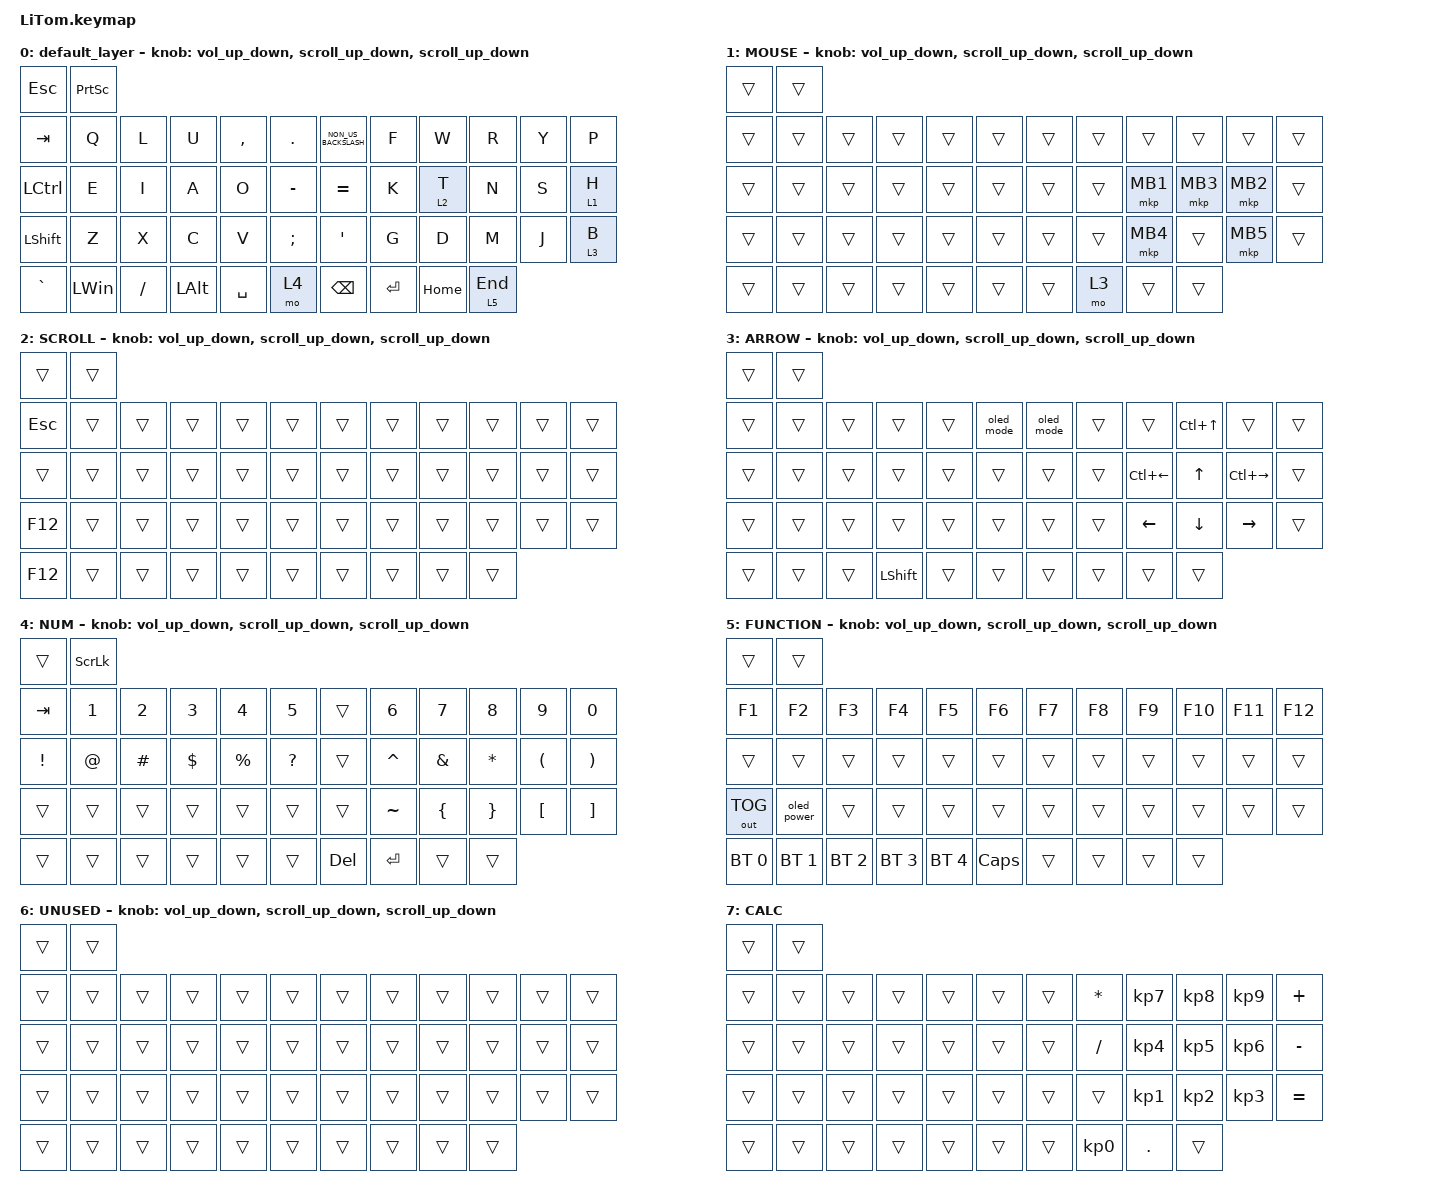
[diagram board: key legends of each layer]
#include <zephyr/dt-bindings/input/input-event-codes.h>
#include <input/processors/runtime-input-processor.dtsi>
#include <behaviors/runtime-sensor-rotate.dtsi>
#include <behaviors.dtsi>
#include <dt-bindings/zmk/bt.h>
#include <dt-bindings/zmk/keys.h>
#include <dt-bindings/zmk/outputs.h>
#include <dt-bindings/zmk/pointing.h>

#undef ZMK_POINTING_DEFAULT_SCRL_VAL

#define ZMK_POINTING_DEFAULT_SCRL_VAL 80

// スクロールのランタイムスケーラ (DYA Studio から実行時に変更できる倍率)。
// LiTom_R.overlay では慣性プロセッサの「上流」に置いてあるので、ここで大きく
// 割ると慣性へ渡る値が 0 に潰れて速度計測が壊れる。固定の縮小は慣性の下流の
// zip_scroll_scaler に任せ、ここは素通し (1:1) を基準にする。
// 注意: この値は NVS に保存されるため、以前 Studio で設定した値があれば
// そちらが優先される。書き込み後に一度 Studio で速度を設定し直すこと。

&scroll_runtime_input_processor {
    scale-multiplier = <1>;
    scale-divisor = <1>;
};

/ {
    behaviors {
        scroll_up_down: behavior_sensor_rotate_mouse_wheel_up_down {
            compatible = "zmk,behavior-runtime-sensor-rotate";
            label = "ENCODER_MSC_DOWN_UP";
            #sensor-binding-cells = <0>;
            cw-binding = <&msc SCRL_DOWN>;
            ccw-binding = <&msc SCRL_UP>;
            tap-ms = <20>;
        };

        vol_up_down: behavior_sensor_rotate_volume_up_down {
            compatible = "zmk,behavior-runtime-sensor-rotate";
            label = "ENCODER_VOL_UP_DOWN";
            #sensor-binding-cells = <0>;
            cw-binding = <&kp C_VOLUME_UP>;
            ccw-binding = <&kp C_VOLUME_DOWN>;
            tap-ms = <20>;
        };

        tab_slide: behavior_sensor_rotate_tab_slide {
            compatible = "zmk,behavior-runtime-sensor-rotate";
            label = "ENCODER_TAB_SLIDE";
            #sensor-binding-cells = <0>;
            cw-binding = <&kp LA(LG(RIGHT_ARROW))>;
            ccw-binding = <&kp LA(LG(LEFT_ARROW))>;
            tap-ms = <20>;
        };
    };

    keymap: keymap {
        compatible = "zmk,keymap";

        default_layer {
            display-name = "default_layer";
            bindings = <
&kp ESCAPE        &kp PRINTSCREEN
&kp TAB           &kp Q            &kp L      &kp U         &kp COMMA  &kp PERIOD     &kp NON_US_BACKSLASH  &kp F      &kp W     &kp R      &kp Y  &kp P
&kp LEFT_CONTROL  &kp E            &kp I      &kp A         &kp O      &kp MINUS      &kp EQUAL             &kp K      &lt 2 T   &kp N      &kp S  &lt 1 H
&kp LEFT_SHIFT    &kp Z            &kp X      &kp C         &kp V      &kp SEMICOLON  &kp SQT               &kp G      &kp D     &kp M      &kp J  &lt 3 B
&kp GRAVE         &kp LEFT_WIN     &kp SLASH  &kp LEFT_ALT  &kp SPACE  &mo 4          &kp BACKSPACE         &kp ENTER  &kp HOME  &lt 5 END
            >;

            sensor-bindings = <
                &vol_up_down
                &scroll_up_down
                &scroll_up_down
            >;
        };

        MOUSE {
            display-name = "MOUSE";
            bindings = <
&trans  &trans
&trans  &trans  &trans  &trans  &trans  &trans  &trans  &trans  &trans    &trans    &trans    &trans
&trans  &trans  &trans  &trans  &trans  &trans  &trans  &trans  &mkp MB1  &mkp MB3  &mkp MB2  &trans
&trans  &trans  &trans  &trans  &trans  &trans  &trans  &trans  &mkp MB4  &trans    &mkp MB5  &trans
&trans  &trans  &trans  &trans  &trans  &trans  &trans  &mo 3   &trans    &trans
            >;

            sensor-bindings = <
                &vol_up_down
                &scroll_up_down
                &scroll_up_down
            >;
        };

        SCROLL {
            display-name = "SCROLL";
            bindings = <
&trans      &trans
&kp ESCAPE  &trans  &trans  &trans  &trans  &trans  &trans  &trans  &trans  &trans  &trans  &trans
&trans      &trans  &trans  &trans  &trans  &trans  &trans  &trans  &trans  &trans  &trans  &trans
&kp F12     &trans  &trans  &trans  &trans  &trans  &trans  &trans  &trans  &trans  &trans  &trans
&kp F12     &trans  &trans  &trans  &trans  &trans  &trans  &trans  &trans  &trans
            >;

            sensor-bindings = <
                &vol_up_down
                &scroll_up_down
                &scroll_up_down
            >;
        };

        ARROW {
            display-name = "ARROW";
            bindings = <
&trans  &trans
&trans  &trans  &trans  &trans          &trans  &oled_mode  &oled_mode  &trans  &trans              &kp LC(UP_ARROW)  &trans               &trans
&trans  &trans  &trans  &trans          &trans  &trans      &trans      &trans  &kp LC(LEFT_ARROW)  &kp UP_ARROW      &kp LC(RIGHT_ARROW)  &trans
&trans  &trans  &trans  &trans          &trans  &trans      &trans      &trans  &kp LEFT_ARROW      &kp DOWN_ARROW    &kp RIGHT_ARROW      &trans
&trans  &trans  &trans  &kp LEFT_SHIFT  &trans  &trans      &trans      &trans  &trans              &trans
            >;

            sensor-bindings = <
                &vol_up_down
                &scroll_up_down
                &scroll_up_down
            >;
        };

        NUM {
            display-name = "NUM";
            bindings = <
&trans    &kp SCROLLLOCK
&kp TAB   &kp NUMBER_1    &kp NUMBER_2  &kp NUMBER_3  &kp NUMBER_4  &kp N5        &trans   &kp NUMBER_6  &kp N7          &kp N8           &kp N9                &kp N0
&kp EXCL  &kp AT_SIGN     &kp HASH      &kp DOLLAR    &kp PERCENT   &kp QUESTION  &trans   &kp CARET     &kp AMPERSAND   &kp ASTERISK     &kp LEFT_PARENTHESIS  &kp RIGHT_PARENTHESIS
&trans    &trans          &trans        &trans        &trans        &trans        &trans   &kp TILDE     &kp LEFT_BRACE  &kp RIGHT_BRACE  &kp LEFT_BRACKET      &kp RIGHT_BRACKET
&trans    &trans          &trans        &trans        &trans        &trans        &kp DEL  &kp ENTER     &trans          &trans
            >;

            sensor-bindings = <
                &vol_up_down
                &scroll_up_down
                &scroll_up_down
            >;
        };

        FUNCTION {
            display-name = "FUNCTION";
            bindings = <
&trans        &trans
&kp F1        &kp F2        &kp F3        &kp F4        &kp F5        &kp F6        &kp F7  &kp F8  &kp F9  &kp F10  &kp F11  &kp F12
&trans        &trans        &trans        &trans        &trans        &trans        &trans  &trans  &trans  &trans   &trans   &trans
&out OUT_TOG  &oled_power   &trans        &trans        &trans        &trans        &trans  &trans  &trans  &trans   &trans   &trans
&bt BT_SEL 0  &bt BT_SEL 1  &bt BT_SEL 2  &bt BT_SEL 3  &bt BT_SEL 4  &kp CAPSLOCK  &trans  &trans  &trans  &trans
            >;

            sensor-bindings = <
                &vol_up_down
                &scroll_up_down
                &scroll_up_down
            >;
        };

        // 未使用の予備レイヤー。到達するバインドは意図的に置いていない。
        // 出力先切り替え (&out OUT_TOG) は FUNCTION レイヤーへ移設済み。
        // レイヤー番号を詰めると CALC が 7 -> 6 にずれ、ZMK Studio が
        // NVS に保存したレイヤー設定と食い違うため、枠だけ残している。

        BT {
            display-name = "UNUSED";
            bindings = <
&trans  &trans
&trans  &trans  &trans  &trans  &trans  &trans  &trans  &trans  &trans  &trans  &trans  &trans
&trans  &trans  &trans  &trans  &trans  &trans  &trans  &trans  &trans  &trans  &trans  &trans
&trans  &trans  &trans  &trans  &trans  &trans  &trans  &trans  &trans  &trans  &trans  &trans
&trans  &trans  &trans  &trans  &trans  &trans  &trans  &trans  &trans  &trans
            >;

            sensor-bindings = <
                &vol_up_down
                &scroll_up_down
                &scroll_up_down
            >;
        };

        CALC {
            display-name = "CALC";
            bindings = <
&trans  &trans
&trans  &trans  &trans  &trans  &trans  &trans  &trans  &kp ASTRK  &kp KP_N7  &kp KP_N8  &kp KP_N9  &kp PLUS
&trans  &trans  &trans  &trans  &trans  &trans  &trans  &kp SLASH  &kp KP_N4  &kp KP_N5  &kp KP_N6  &kp MINUS
&trans  &trans  &trans  &trans  &trans  &trans  &trans  &trans     &kp KP_N1  &kp KP_N2  &kp KP_N3  &kp EQUAL
&trans  &trans  &trans  &trans  &trans  &trans  &trans  &kp KP_N0  &kp DOT    &trans
            >;
        };
    };
};
